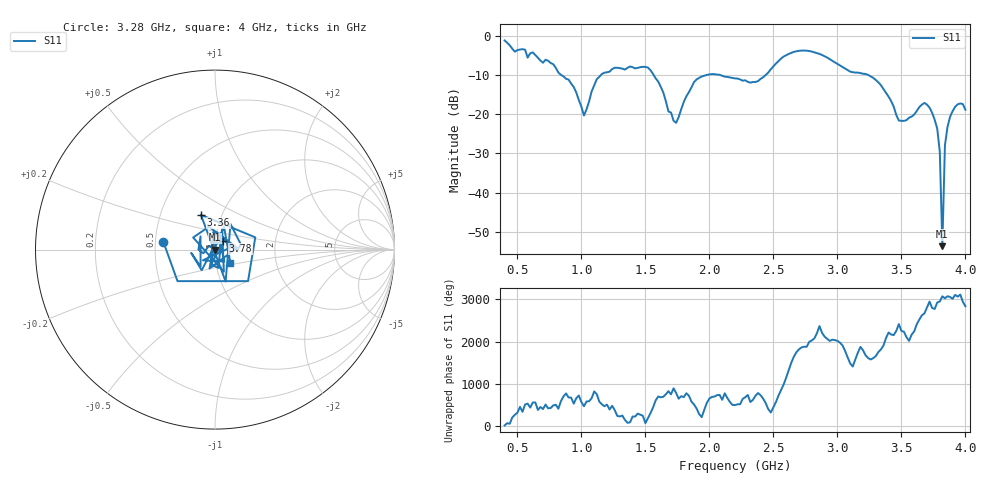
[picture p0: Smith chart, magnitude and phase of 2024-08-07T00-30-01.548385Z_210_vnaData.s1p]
!Created with skrf (http://scikit-rf.org).
# Hz S RI R 50.0
!freq ReS11 ImS11
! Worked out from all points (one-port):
!   181 points, 400 MHz to 4 GHz, reference 50 ohm
!   lowest |S11| = -53.7 dB at 3.82 GHz (marker M1), VSWR 1.00, Z = 49.8 - j0.0557 ohm
!   |S11| at or under -10 dB: 1.564 GHz to 1.979 GHz (414.1 MHz wide, 23.4 % of centre); 2.084 GHz to 2.44 GHz (356.4 MHz wide, 15.8 % of centre); 3.241 GHz to end of sweep (the widest 3 of 4)
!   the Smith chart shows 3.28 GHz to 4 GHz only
!   S11 on the Smith chart (normalised r, x): 3.28 GHz: 0.55, +0.05; 3.36 GHz: 0.80, +0.32; 3.78 GHz: 1.09, +0.11; 4 GHz: 1.17, -0.18
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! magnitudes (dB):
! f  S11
! 400 MHz  -1.2
! 860 MHz  -10.4
! 940 MHz  -13.1
! 1.02 GHz  -20.3
! 1.12 GHz  -11.1
! 1.3 GHz  -8.3
! 1.52 GHz  -8.1
! 1.62 GHz  -13.0
! 1.72 GHz  -21.7
! 1.76 GHz  -20.7
! 1.9 GHz  -11.1
! 2.2 GHz  -10.9
! 2.38 GHz  -11.6
! 2.66 GHz  -4.1
! 2.86 GHz  -4.6
! 3.1 GHz  -9.2
! 3.28 GHz  -10.7
! 3.36 GHz  -13.6
! 3.48 GHz  -21.6
! 3.56 GHz  -20.9
! 3.68 GHz  -17.1
! 3.78 GHz  -23.7
! 3.8 GHz  -29.6
! 3.82 GHz  -53.7
! 3.84 GHz  -28.0
! 3.86 GHz  -23.3
! 3.92 GHz  -18.1
! 4 GHz  -18.9
